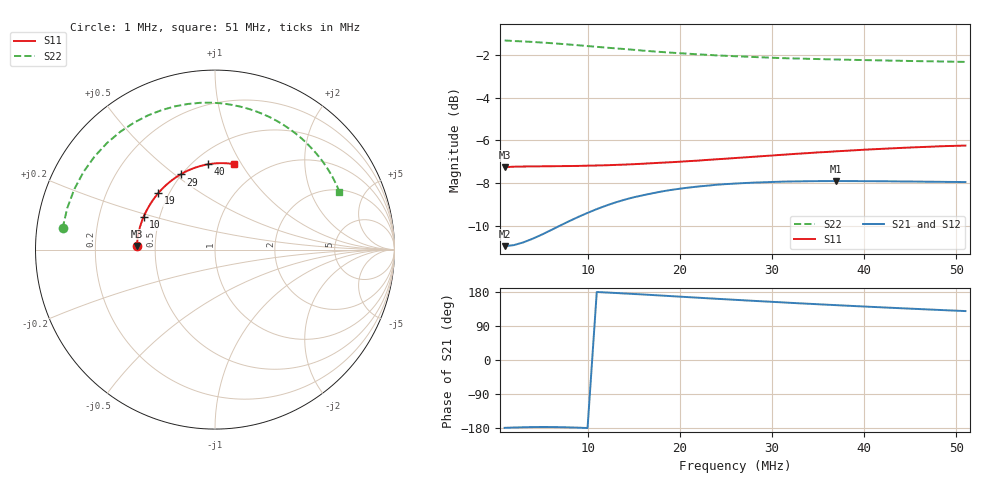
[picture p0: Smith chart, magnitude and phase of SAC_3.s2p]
# MHz S RI R 50
! S-Parameters data
! Freq  reS11  imS11  reS21  imS21  reS12  imS12  reS22  imS22
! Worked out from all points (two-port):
!   51 points, 1 MHz to 51 MHz, reference 50 ohm
!   highest |S21| = -7.89 dB at 37 MHz (marker M1); lowest = -10.9 dB at 1 MHz (marker M2)
!   |S21| within 3 dB of the highest: 1.776 MHz to end of sweep
!   lowest |S11| = -7.2 dB at 1 MHz (marker M3), VSWR 2.53, Z = 19.7 + j0.977 ohm
!   |S11| at or under -10 dB: nowhere
!   |S22| runs from -2.3 to -1.3 dB; largest |S21 - S12| = 0.0023
!   S11 on the Smith chart (normalised r, x): 1 MHz: 0.39, +0.02; 10 MHz: 0.41, +0.18; 19 MHz: 0.44, +0.34; 29 MHz: 0.49, +0.52; 40 MHz: 0.59, +0.73; 51 MHz: 0.74, +0.93
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1  -0.4338 0.0201  -0.284 -0.00513  -0.2825 -0.00528  -0.8494 0.1182
2  -0.4337 0.038  -0.2855 -0.00896  -0.2841 -0.00948  -0.8233 0.2307
3  -0.432 0.0566  -0.2895 -0.0127  -0.2881 -0.0133  -0.784 0.3364
5  -0.4259 0.0938  -0.3015 -0.0169  -0.3002 -0.0177  -0.6703 0.5197
6  -0.4218 0.112  -0.3089 -0.0168  -0.3076 -0.0179  -0.601 0.5946
7  -0.4168 0.13  -0.3167 -0.0154  -0.3154 -0.0166  -0.5267 0.6573
8  -0.4111 0.1476  -0.3246 -0.0125  -0.3233 -0.0138  -0.4498 0.7083
9  -0.4049 0.1647  -0.3323 -0.00835  -0.3312 -0.00986  -0.3724 0.7482
10  -0.3983 0.1816  -0.3396 -0.0029  -0.3388 -0.00443  -0.2959 0.7777
12  -0.3829 0.2139  -0.3529 0.0111  -0.3521 0.00911  -0.1503 0.8114
14  -0.3659 0.2448  -0.3634 0.0281  -0.3629 0.0259  -0.0198 0.8187
16  -0.3471 0.2741  -0.3705 0.0459  -0.3707 0.0446  0.0913 0.8068
18  -0.3269 0.3015  -0.3752 0.0656  -0.3756 0.0643  0.1882 0.7838
19  -0.316 0.3145  -0.3765 0.0756  -0.377 0.0743  0.2308 0.7695
22  -0.2815 0.3509  -0.3768 0.1055  -0.3777 0.1043  0.3385 0.7203
26  -0.2316 0.3928  -0.3707 0.1436  -0.3719 0.1428  0.4445 0.6506
29  -0.1919 0.4188  -0.3622 0.1704  -0.3637 0.1696  0.5034 0.6
35  -0.1089 0.4572  -0.3384 0.2186  -0.3401 0.2184  0.5867 0.5081
37  -0.0809 0.4659  -0.3289 0.2328  -0.3306 0.2327  0.6073 0.4802
40  -0.0391 0.4752  -0.3137 0.2526  -0.3155 0.2527  0.6329 0.4417
43  0.00215 0.4803  -0.2978 0.2706  -0.2995 0.2709  0.6537 0.4059
51  0.1063 0.476  -0.2529 0.3109  -0.2545 0.3119  0.6928 0.3227
